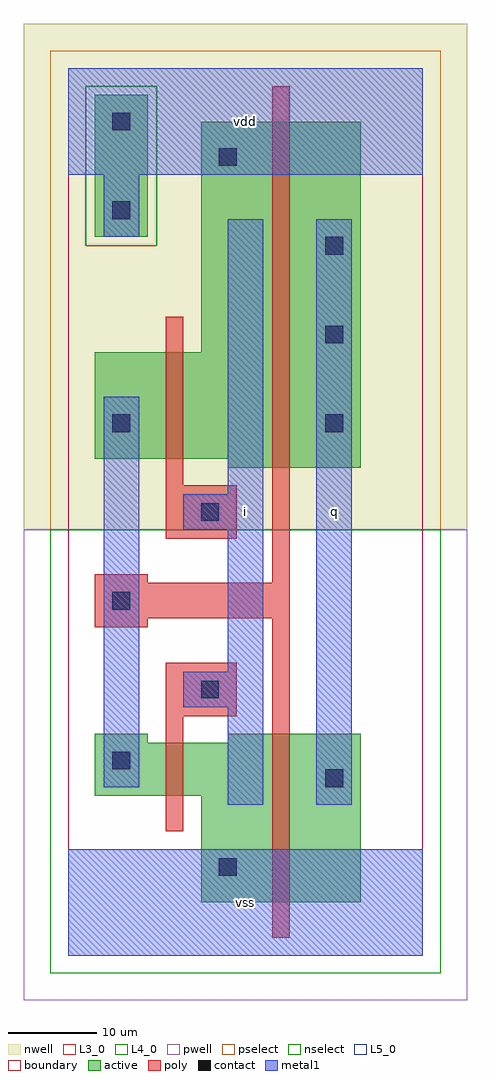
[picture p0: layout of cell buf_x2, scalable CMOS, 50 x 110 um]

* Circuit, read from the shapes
.subckt buf_x2 i q vdd vss
M1 vss i n1 VSUBS nfet w=6u l=2u
M2 q n1 vss VSUBS nfet w=19u l=2u
M3 vdd i n1 vdd pfet w=12u l=2u
M4 q n1 vdd vdd pfet w=39u l=2u
.ends

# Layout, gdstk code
import gdstk
lib = gdstk.Library(unit=1e-6, precision=1e-09)
def R(c, l, rs):  # rectangles x0, y0, x1, y1
    for r in rs: c.add(gdstk.rectangle(r[:2], r[2:], *l))
def A(c, l, x, y, w, h, nx, ny, dx, dy):  # array of equal rectangles
    R(c, l, [(x+i*dx, y+j*dy, x+i*dx+w, y+j*dy+h) for i in range(nx) for j in range(ny)])
L3_0 = (3, 0)
L4_0 = (4, 0)
L5_0 = (5, 0)
contact = (25, 0)
pwell = (41, 0)
nwell = (42, 0)
active = (43, 0)
pselect = (44, 0)
nselect = (45, 0)
poly = (46, 0)
metal1 = (49, 0)
boundary = (63, 0)

buf_x2 = lib.new_cell('buf_x2')
R(buf_x2, L3_0, [(15,6,33,18), (3,18,33,24), (3,24,9,25), (18,24,33,25)])
R(buf_x2, L4_0, [(18,55,33,56), (3,56,33,68), (15,68,33,94)])
R(buf_x2, L5_0, [(3,81,9,97)])
A(buf_x2, contact, 29, 59, 2, 2, 1, 3, 0, 10)
R(buf_x2, contact, [(17,9,19,11), (29,19,31,21), (5,21,7,23), (15,29,17,31), (5,39,7,41), (15,49,17,51), (5,59,7,61), (5,83,7,85), (17,89,19,91), (5,93,7,95)])
R(buf_x2, pwell, [(-5,-5,45,48)])
R(buf_x2, nwell, [(-5,48,45,105)])
R(buf_x2, active, [(15,6,33,18), (3,18,33,24), (3,24,9,25), (18,24,33,25), (18,55,33,56), (3,56,33,68), (15,68,33,94), (3,81,9,97)])
R(buf_x2, pselect, [(-2,48,42,80), (-2,80,2,98), (10,80,42,98), (-2,98,42,102)])
R(buf_x2, nselect, [(-2,-2,42,48), (2,80,10,98)])
R(buf_x2, poly, [(23,2,25,38), (11,14,13,27), (11,27,19,33), (3,37,9,38), (3,38,25,42), (3,42,9,43), (23,42,25,98), (11,47,19,53), (11,53,13,72)])
R(buf_x2, metal1, [(0,0,40,12), (18,17,22,28), (28,17,32,83), (4,19,8,63), (13,28,22,32), (18,32,22,48), (13,48,22,52), (18,52,22,83), (4,81,8,88), (0,88,40,100)])
R(buf_x2, boundary, [(0,0,40,100)])
buf_x2.add(gdstk.Label('vss', (20,6), layer=49, texttype=0))
buf_x2.add(gdstk.Label('i', (20,50), layer=49, texttype=0))
buf_x2.add(gdstk.Label('vdd', (20,94), layer=49, texttype=0))
buf_x2.add(gdstk.Label('q', (30,50), layer=49, texttype=0))

lib.write_gds('buf_x2.gds')
